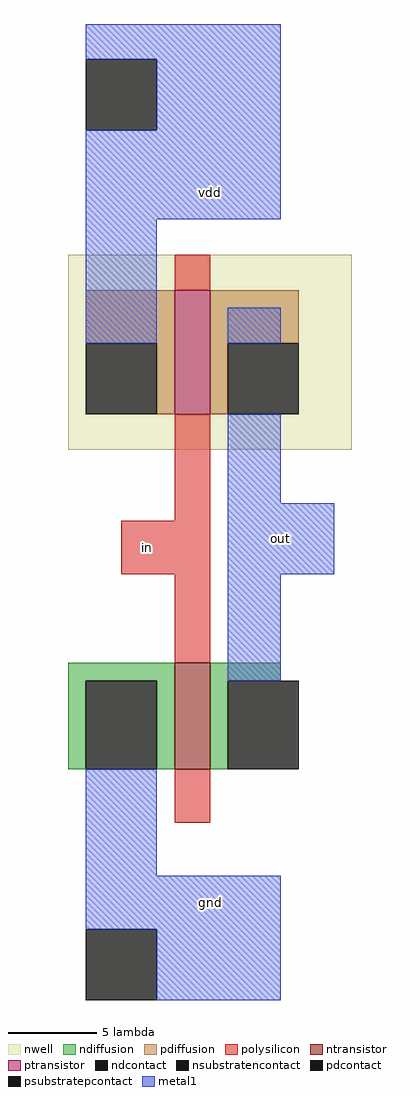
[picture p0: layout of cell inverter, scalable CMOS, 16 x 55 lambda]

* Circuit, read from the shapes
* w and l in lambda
.subckt inverter gnd in out vdd
M1 out in gnd vdd nfet w=6 l=2
M2 out in vdd n1 pfet w=7 l=2
.ends

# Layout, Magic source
magic
tech scmos
<< nwell >>
rect -7 -5 9 6
<< polysilicon >>
rect -1 4 1 6
rect -1 -9 1 -3
rect -4 -12 1 -9
rect -1 -17 1 -12
rect -1 -26 1 -23
<< ndiffusion >>
rect -7 -18 -1 -17
rect -7 -23 -6 -18
rect -2 -23 -1 -18
rect 1 -18 5 -17
rect 1 -23 2 -18
<< pdiffusion >>
rect -6 1 -1 4
rect -2 -3 -1 1
rect 1 1 6 4
rect 1 -3 2 1
<< metal1 >>
rect -6 17 5 19
rect -2 13 5 17
rect -6 8 5 13
rect -6 1 -2 8
rect 2 1 5 3
rect 2 -8 5 -3
rect 2 -12 8 -8
rect 2 -18 5 -12
rect -6 -29 -2 -23
rect -6 -32 5 -29
rect -2 -36 5 -32
<< ntransistor >>
rect -1 -23 1 -17
<< ptransistor >>
rect -1 -3 1 4
<< ndcontact >>
rect -6 -23 -2 -18
rect 2 -23 6 -18
<< pdcontact >>
rect -6 -3 -2 1
rect 2 -3 6 1
<< psubstratepcontact >>
rect -6 13 -2 17
<< nsubstratencontact >>
rect -6 -36 -2 -32
<< labels >>
rlabel metal1 2 -12 8 -8 7 out
rlabel polysilicon -4 -12 -1 -9 3 in
rlabel metal1 -1 8 3 11 5 vdd
rlabel metal1 -1 -32 3 -29 1 gnd
<< end >>
